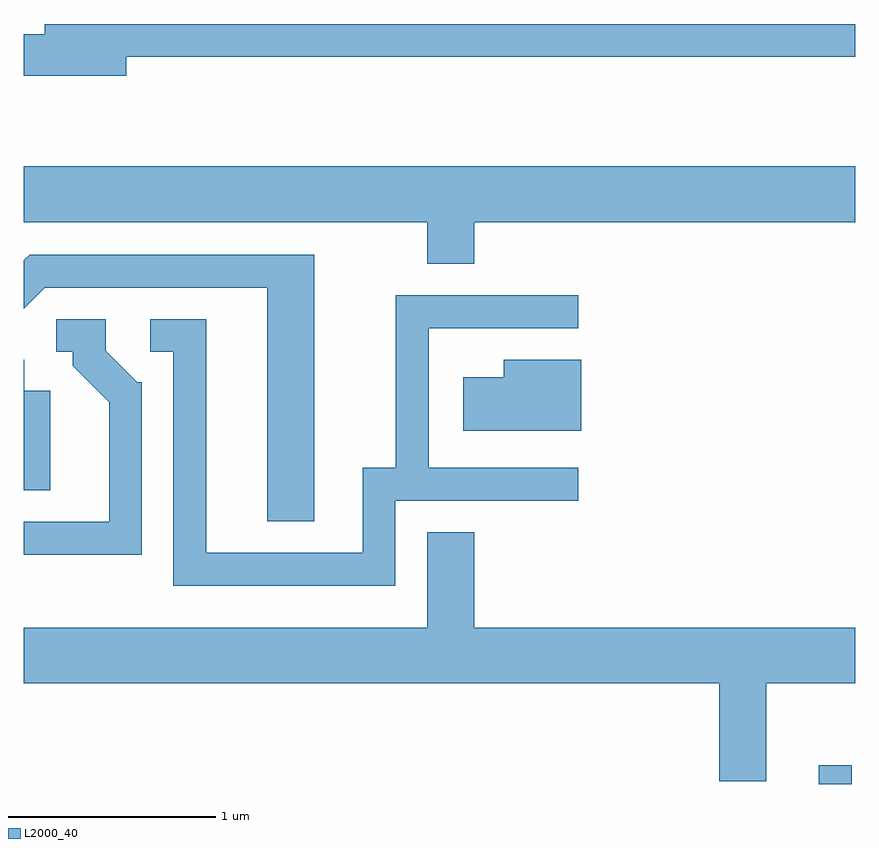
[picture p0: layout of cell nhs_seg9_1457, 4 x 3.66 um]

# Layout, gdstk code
import gdstk
lib = gdstk.Library(unit=1e-6, precision=1e-09)
def R(c, l, rs):  # rectangles x0, y0, x1, y1
    for r in rs: c.add(gdstk.rectangle(r[:2], r[2:], *l))
def P(c, l, *ps):  # polygons
    for p in ps: c.add(gdstk.Polygon(p, *l))
L2000_40 = (2000, 40)

nhs_seg9_1457 = lib.new_cell('nhs_seg9_1457')
R(nhs_seg9_1457, L2000_40, [(231.436,2002.432,231.594,2002.523)])
P(nhs_seg9_1457, L2000_40, [(228.104,2005.931),(231.611,2005.931),(231.611,2006.089),(227.711,2006.089),(227.711,2006.039),(227.611,2006.039),(227.611,2005.841),(228.104,2005.841)],
  [(229.779,2005.136),(231.611,2005.136),(231.611,2005.404),(227.611,2005.404),(227.611,2005.136),(229.551,2005.136),(229.551,2004.936),(229.779,2004.936)],
  [(229.009,2004.979),(227.639,2004.979),(227.611,2004.951),(227.611,2004.72),(227.712,2004.821),(228.781,2004.821),(228.781,2003.696),(229.009,2003.696)],
  [(229.399,2003.796),(230.278,2003.796),(230.278,2003.954),(229.559,2003.954),(229.559,2004.626),(230.278,2004.626),(230.278,2004.784),(229.401,2004.784),(229.401,2003.954),(229.241,2003.954),(229.241,2003.544),(228.489,2003.544),(228.489,2004.669),(228.218,2004.669),(228.218,2004.511),(228.331,2004.511),(228.331,2003.386),(229.399,2003.386)],
  [(228.179,2004.364),(228.157,2004.364),(228.004,2004.517),(228.004,2004.669),(227.768,2004.669),(227.768,2004.511),(227.846,2004.511),(227.846,2004.444),(228.021,2004.269),(228.021,2003.694),(227.611,2003.694),(227.611,2003.536),(228.179,2003.536)],
  [(227.739,2004.324),(227.614,2004.324),(227.614,2004.474),(227.611,2004.474),(227.611,2003.846),(227.739,2003.846)],
  [(230.294,2004.474),(229.921,2004.474),(229.921,2004.389),(229.726,2004.389),(229.726,2004.131),(230.294,2004.131)],
  [(231.184,2002.916),(231.611,2002.916),(231.611,2003.184),(229.779,2003.184),(229.779,2003.644),(229.551,2003.644),(229.551,2003.184),(227.611,2003.184),(227.611,2002.916),(230.956,2002.916),(230.956,2002.446),(231.184,2002.446)])

lib.write_gds('nhs_seg9_1457.gds')
